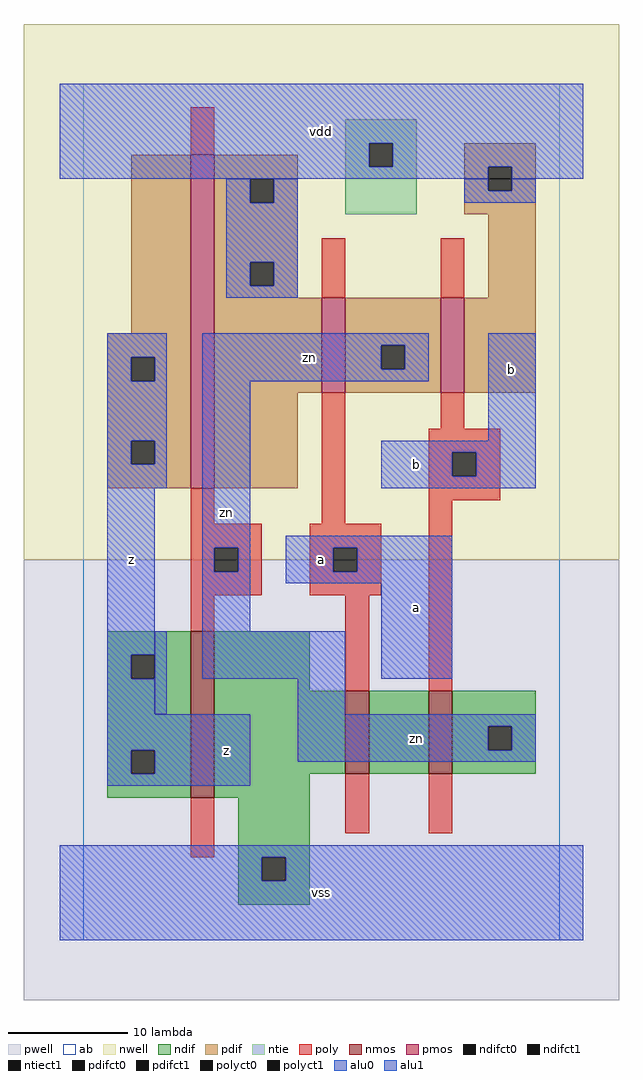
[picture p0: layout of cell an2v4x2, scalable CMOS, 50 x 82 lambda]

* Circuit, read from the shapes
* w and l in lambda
.subckt an2v4x2 a b vdd vss z zn
M1 vss zn z VSUBS nfet w=14 l=2
M2 n1 a vss VSUBS nfet w=7 l=2
M3 zn b n1 VSUBS nfet w=7 l=2
M4 vdd zn z vdd pfet w=28 l=2
M5 zn a vdd vdd pfet w=8 l=2
M6 vdd b zn vdd pfet w=8 l=2
.ends

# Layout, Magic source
magic
tech scmos
<< ab >>
rect 0 0 40 72
<< nwell >>
rect -5 32 45 77
<< pwell >>
rect -5 -5 45 32
<< poly >>
rect 9 66 11 70
rect 20 54 22 59
rect 30 54 32 59
rect 9 35 11 38
rect 20 35 22 46
rect 30 43 32 46
rect 29 41 35 43
rect 29 39 31 41
rect 33 39 35 41
rect 29 37 35 39
rect 9 33 15 35
rect 9 31 11 33
rect 13 31 15 33
rect 9 29 15 31
rect 19 33 25 35
rect 19 31 21 33
rect 23 31 25 33
rect 19 29 25 31
rect 9 26 11 29
rect 22 21 24 29
rect 29 21 31 37
rect 9 7 11 12
rect 22 9 24 14
rect 29 9 31 14
<< ndif >>
rect 2 24 9 26
rect 2 22 4 24
rect 6 22 9 24
rect 2 16 9 22
rect 2 14 4 16
rect 6 14 9 16
rect 2 12 9 14
rect 11 21 19 26
rect 11 14 22 21
rect 24 14 29 21
rect 31 18 38 21
rect 31 16 34 18
rect 36 16 38 18
rect 31 14 38 16
rect 11 12 19 14
rect 13 7 19 12
rect 13 5 15 7
rect 17 5 19 7
rect 13 3 19 5
<< pdif >>
rect 4 51 9 66
rect 2 49 9 51
rect 2 47 4 49
rect 6 47 9 49
rect 2 42 9 47
rect 2 40 4 42
rect 6 40 9 42
rect 2 38 9 40
rect 11 64 18 66
rect 11 62 14 64
rect 16 62 18 64
rect 11 57 18 62
rect 32 65 38 67
rect 32 63 34 65
rect 36 63 38 65
rect 32 61 38 63
rect 11 55 14 57
rect 16 55 18 57
rect 11 54 18 55
rect 34 54 38 61
rect 11 46 20 54
rect 22 50 30 54
rect 22 48 25 50
rect 27 48 30 50
rect 22 46 30 48
rect 32 46 38 54
rect 11 38 18 46
<< alu1 >>
rect -2 67 42 72
rect -2 65 24 67
rect 26 65 42 67
rect -2 64 34 65
rect 36 64 42 65
rect 2 49 7 51
rect 2 47 4 49
rect 6 47 7 49
rect 2 42 7 47
rect 2 40 4 42
rect 6 40 7 42
rect 2 38 7 40
rect 2 24 6 38
rect 34 42 38 51
rect 25 41 38 42
rect 25 39 31 41
rect 33 39 38 41
rect 25 38 38 39
rect 17 33 31 34
rect 17 31 21 33
rect 23 31 31 33
rect 17 30 31 31
rect 2 22 4 24
rect 2 19 6 22
rect 25 22 31 30
rect 2 16 14 19
rect 2 14 4 16
rect 6 14 14 16
rect 2 13 14 14
rect -2 7 42 8
rect -2 5 15 7
rect 17 5 42 7
rect -2 0 42 5
<< ntie >>
rect 22 67 28 69
rect 22 65 24 67
rect 26 65 28 67
rect 22 61 28 65
<< nmos >>
rect 9 12 11 26
rect 22 14 24 21
rect 29 14 31 21
<< pmos >>
rect 9 38 11 66
rect 20 46 22 54
rect 30 46 32 54
<< polyct0 >>
rect 11 31 13 33
<< polyct1 >>
rect 31 39 33 41
rect 21 31 23 33
<< ndifct0 >>
rect 34 16 36 18
<< ndifct1 >>
rect 4 22 6 24
rect 4 14 6 16
rect 15 5 17 7
<< ntiect1 >>
rect 24 65 26 67
<< pdifct0 >>
rect 14 62 16 64
rect 34 63 36 64
rect 14 55 16 57
rect 25 48 27 50
<< pdifct1 >>
rect 4 47 6 49
rect 4 40 6 42
rect 34 64 36 65
<< alu0 >>
rect 12 62 14 64
rect 16 62 18 64
rect 32 63 34 64
rect 36 63 38 64
rect 32 62 38 63
rect 12 57 18 62
rect 12 55 14 57
rect 16 55 18 57
rect 12 54 18 55
rect 10 50 29 51
rect 10 48 25 50
rect 27 48 29 50
rect 10 47 29 48
rect 10 33 14 47
rect 10 31 11 33
rect 13 31 14 33
rect 10 26 14 31
rect 6 19 7 26
rect 10 22 22 26
rect 18 19 22 22
rect 18 18 38 19
rect 18 16 34 18
rect 36 16 38 18
rect 18 15 38 16
<< labels >>
rlabel alu0 12 36 12 36 6 zn
rlabel alu0 28 17 28 17 6 zn
rlabel alu0 19 49 19 49 6 zn
rlabel alu1 4 32 4 32 6 z
rlabel alu1 12 16 12 16 6 z
rlabel alu1 20 4 20 4 6 vss
rlabel alu1 20 32 20 32 6 a
rlabel alu1 28 28 28 28 6 a
rlabel alu1 28 40 28 40 6 b
rlabel alu1 20 68 20 68 6 vdd
rlabel alu1 36 48 36 48 6 b
<< end >>
